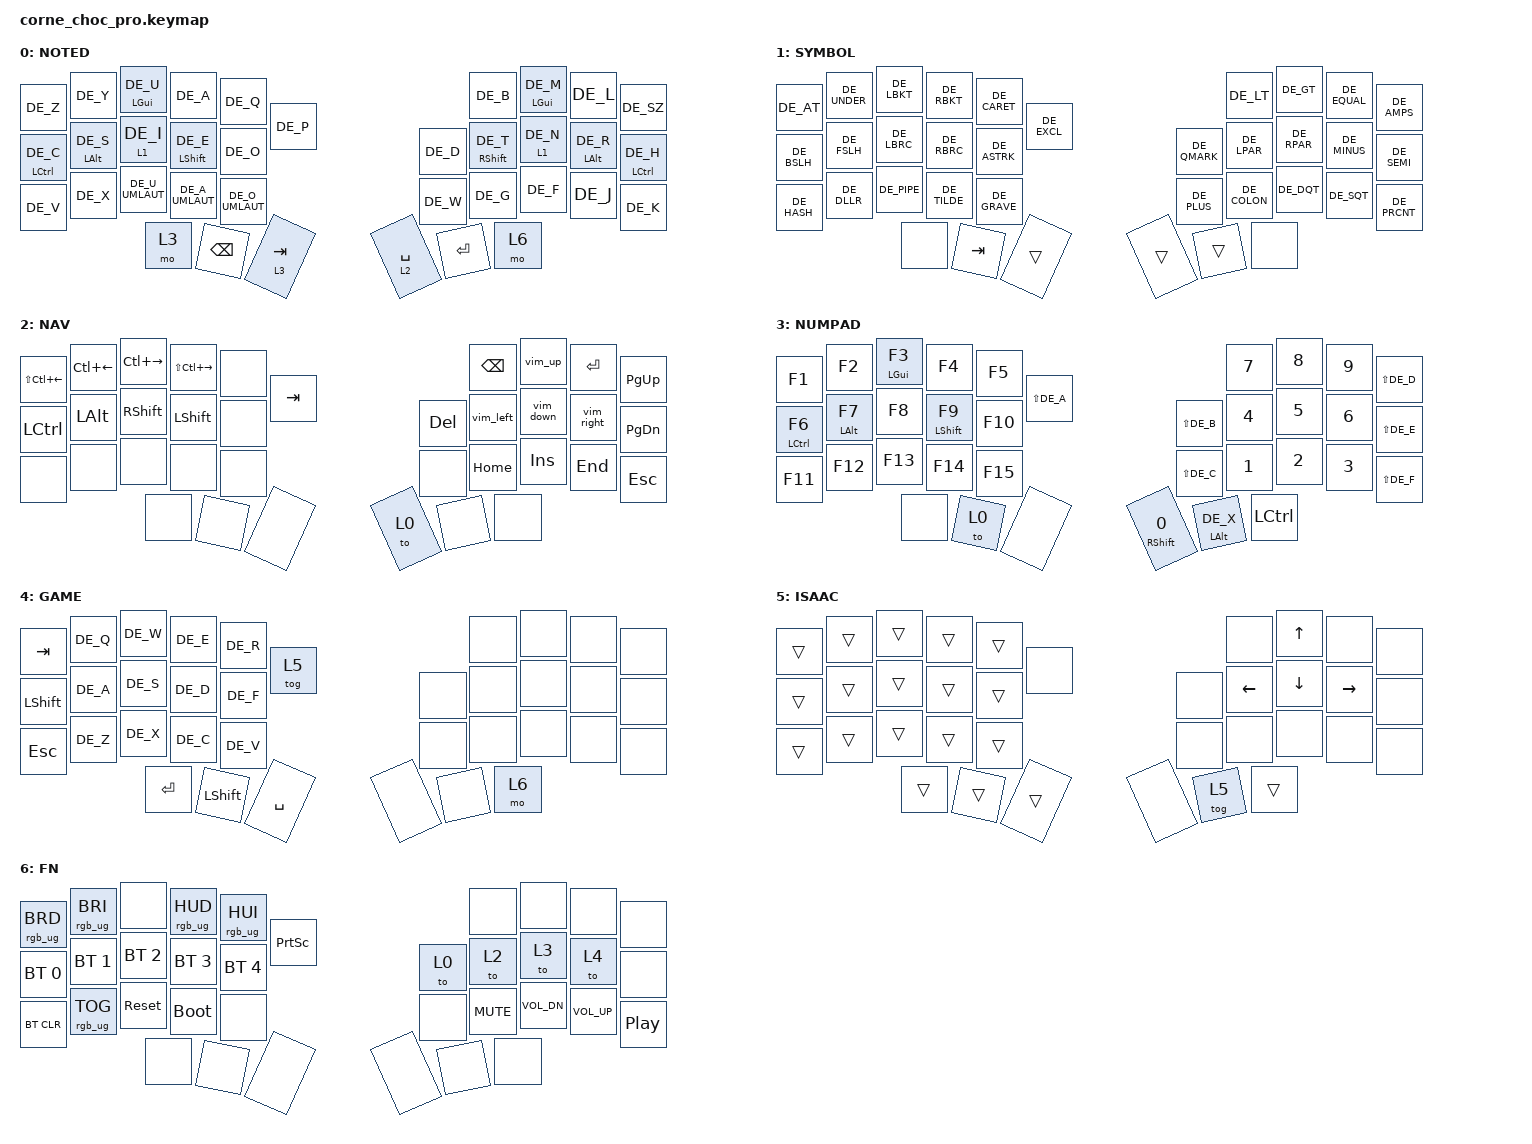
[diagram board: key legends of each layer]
/*
 * Copyright (c) 2020 The ZMK Contributors
 *
 * SPDX-License-Identifier: MIT
 */

#ifndef KEYMAP_DRAWER

#include "keys_de.h"

#endif

#include "zmk-helpers/helper.h"

// Source desired key-position labels

#include "zmk-helpers/key-labels/36.h"
#include <behaviors.dtsi>
#include <dt-bindings/zmk/bt.h>
#include <dt-bindings/zmk/keys.h>
#include <dt-bindings/zmk/rgb.h>

&lt {
    flavor = "balanced";
    tapping-term-ms = <175>;
};

&mt {
    flavor = "balanced";
    tapping-term-ms = <175>;
};

/ {
    chosen { zmk,physical-layout = &five_col_layout; };
};

/ {
    combos {
        compatible = "zmk,combos";

        Copy {
            bindings = <&copy>;
            key-positions = <20 21>;
            layers = <0 1 2 3>;
            timeout-ms = <17>;
            require-prior-idle-ms = <150>;
        };

        Paste {
            bindings = <&paste>;
            key-positions = <21 22>;
            layers = <0 1 2 3>;
            timeout-ms = <17>;
            require-prior-idle-ms = <150>;
        };

        Cut {
            bindings = <&kp LC(DE_X)>;
            key-positions = <22 23>;
            layers = <0 1 2 3>;
            timeout-ms = <17>;
            require-prior-idle-ms = <150>;
        };

        Backspace {
            bindings = <&kp BACKSPACE>;
            key-positions = <7 8>;
            timeout-ms = <17>;
            require-prior-idle-ms = <150>;
            layers = <1 3>;
        };

        Esc {
            bindings = <&kp ESC>;
            key-positions = <2 1>;
            timeout-ms = <17>;
            require-prior-idle-ms = <150>;
            layers = <1 3 0>;
        };

        Comma {
            bindings = <&kp COMMA>;
            key-positions = <13 12>;
            timeout-ms = <17>;
            require-prior-idle-ms = <150>;
            layers = <0 3>;
        };

        Dot {
            bindings = <&kp DOT>;
            key-positions = <16 17>;
            timeout-ms = <17>;
            require-prior-idle-ms = <150>;
            layers = <0 3>;
        };
    };

    behaviors {
        hml: hml {
            compatible = "zmk,behavior-hold-tap";
            label = "HomeRowModLeft";
            bindings = <&kp>, <&kp>;

            #binding-cells = <2>;
            tapping-term-ms = <195>;
            quick-tap-ms = <175>;
            flavor = "balanced";
            hold-trigger-key-positions = <30 31 32 33 34 35 5 6 7 8 9 15 16 17 18 19 25 26 27 28 29>;
            require-prior-idle-ms = <145>;
        };

        hmr: hmr {
            compatible = "zmk,behavior-hold-tap";
            label = "HomeRowModRight";
            bindings = <&kp>, <&kp>;

            #binding-cells = <2>;
            tapping-term-ms = <195>;
            quick-tap-ms = <175>;
            flavor = "balanced";
            hold-trigger-key-positions = <30 31 33 34 35 32 0 4 10 11 12 13 14 20 21 22 23 24 1 2 3>;
            require-prior-idle-ms = <145>;
        };

        lml: lml {
            compatible = "zmk,behavior-hold-tap";
            label = "LayerTapModLeft";
            bindings = <&mo>, <&kp>;

            #binding-cells = <2>;
            tapping-term-ms = <195>;
            quick-tap-ms = <175>;
            flavor = "balanced";
            hold-trigger-key-positions = <30 31 32 33 34 35 5 6 7 8 9 15 16 17 18 19 25 26 27 28 29>;
            require-prior-idle-ms = <145>;
        };

        lmr: lmr {
            compatible = "zmk,behavior-hold-tap";
            label = "LayenTabModRight";
            bindings = <&mo>, <&kp>;

            #binding-cells = <2>;
            tapping-term-ms = <195>;
            quick-tap-ms = <175>;
            flavor = "balanced";
            hold-trigger-key-positions = <30 31 33 34 35 32 0 1 2 3 4 10 11 12 13 14 20 21 22 23 24>;
            require-prior-idle-ms = <145>;
        };

        copy: copy {
            compatible = "zmk,behavior-mod-morph";
            label = "COPY";
            bindings = <&kp LC(INS)>, <&kp LC(DE_C)>;

            #binding-cells = <0>;
            mods = <(MOD_LSFT|MOD_RSFT)>;
        };

        paste: paste {
            compatible = "zmk,behavior-mod-morph";
            label = "PASTE";
            bindings = <&kp LS(INS)>, <&kp LC(DE_V)>;

            #binding-cells = <0>;
            mods = <(MOD_LSFT|MOD_RSFT)>;
        };

        vim_up: vim_up {
            compatible = "zmk,behavior-mod-morph";
            label = "VIM_UP";
            bindings = <&kp UP>, <&kp K>;

            #binding-cells = <0>;
            mods = <(MOD_RSFT)>;
        };

        vim_right: vim_right {
            compatible = "zmk,behavior-mod-morph";
            label = "VIM_RIGHT";
            bindings = <&kp RIGHT>, <&kp L>;

            #binding-cells = <0>;
            mods = <(MOD_RSFT)>;
        };

        vim_down: vim_down {
            compatible = "zmk,behavior-mod-morph";
            label = "VIM_DOWN";
            bindings = <&kp DOWN>, <&kp J>;

            #binding-cells = <0>;
            mods = <(MOD_RSFT)>;
        };

        vim_left: vim_left {
            compatible = "zmk,behavior-mod-morph";
            label = "VIM_LEFT";
            bindings = <&kp LEFT>, <&kp H>;

            #binding-cells = <0>;
            mods = <(MOD_RSFT)>;
        };
    };

    keymap {
        compatible = "zmk,keymap";

        write {
            display-name = "NOTED";

            // ------------------------------------------------------------------------------
            // |  Q  |  W  |  E  |  R  |  T  |  MUTE |  PP   |  Y  |  U   |  I  |  O  |  P  |
            // |  A  |  S  |  D  |  F  |  G  |  LALT |  RALT |  H  |  J   |  K  |  L  |  ;  |
            // |  Z  |  X  |  C  |  V  |  B  |               |  N  |  M   |  ,  |  .  |  /  |
            //                    | GUI | LWR | SPC |               | ENT | RSE  | ALT |

            bindings = <
  &kp DE_Z         &kp DE_Y        &hml LGUI DE_U   &kp DE_A         &kp DE_Q             &kp DE_P     &kp DE_B         &hmr LGUI DE_M  &kp DE_L        &kp DE_SZ
  &hml LCTRL DE_C  &hml LALT DE_S  &lml 1 DE_I      &hml LSHFT DE_E  &kp DE_O             &kp DE_D     &hmr RSHFT DE_T  &lmr 1 DE_N     &hmr LALT DE_R  &hmr LCTRL DE_H
  &kp DE_V         &kp DE_X        &kp DE_U_UMLAUT  &kp DE_A_UMLAUT  &kp DE_O_UMLAUT      &kp DE_W     &kp DE_G         &kp DE_F        &kp DE_J        &kp DE_K
                                   &mo 3            &kp BACKSPACE    &lt 3 TAB            &lt 2 SPACE  &kp ENTER        &mo 6
            >;
        };

        code {
            display-name = "SYMBOL";

            // --------------------------------------------------------------------------------
            // |  1  |  2  |  3  |  4  |  5    |  LCTRL | RCTRL |  6  |  7  |  8  |  9  |  0  |
            // | BT1 | BT2 | BT3 | BT4 | BT5   |  LALT  | RALT  | LFT | DWN |  UP | RGT |     |
            // | BTCR| RGB | RST | BOOT| Unlock|        |       |     |     |     |     |     |
            //                    | GUI |     | SPC   |        | ENT   |     | ALT |

            bindings = <
  &kp DE_AT    &kp DE_UNDER  &kp DE_LBKT  &kp DE_RBKT   &kp DE_CARET      &kp DE_EXCL   &kp DE_LT     &kp DE_GT    &kp DE_EQUAL  &kp DE_AMPS
  &kp DE_BSLH  &kp DE_FSLH   &kp DE_LBRC  &kp DE_RBRC   &kp DE_ASTRK      &kp DE_QMARK  &kp DE_LPAR   &kp DE_RPAR  &kp DE_MINUS  &kp DE_SEMI
  &kp DE_HASH  &kp DE_DLLR   &kp DE_PIPE  &kp DE_TILDE  &kp DE_GRAVE      &kp DE_PLUS   &kp DE_COLON  &kp DE_DQT   &kp DE_SQT    &kp DE_PRCNT
                             &none        &kp TAB       &trans            &trans        &trans        &none
            >;
        };

        navigation {
            display-name = "NAV";

            // -----------------------------------------------------------------------------
            // |  !  |  @  |  #  |  $  |  %  | LCTRL | RCTRL |  ^  |  &  |  *  |  (  |  )  |
            // |     |     |     |     |     |  LALT | RALT  |  -  |  =  |  [  |  ]  |  \  |
            // |     |     |     |     |     |               |  _  |  +  |  {  |  }  | "|" |
            //                    | GUI |     | SPC |               | ENT |     | ALT |

            bindings = <
  &kp LS(LC(LEFT))  &kp LC(LEFT)  &kp LC(RIGHT)  &kp LS(LC(RIGHT))  &none      &kp TAB  &kp BACKSPACE  &vim_up    &kp RET     &kp PAGE_UP
  &kp LCTRL         &kp LALT      &kp RSHFT      &kp LSHFT          &none      &kp DEL  &vim_left      &vim_down  &vim_right  &kp PAGE_DOWN
  &none             &none         &none          &none              &none      &none    &kp HOME       &kp INS    &kp END     &kp ESC
                                  &none          &none              &none      &to 0    &none          &none
            >;
        };

        numbers {
            display-name = "NUMPAD";
            bindings = <
  &kp F1         &kp F2        &hml LGUI F3  &kp F4         &kp F5       &kp LS(DE_A)   &kp N7         &kp N8     &kp N9  &kp LS(DE_D)
  &hml LCTRL F6  &hml LALT F7  &kp F8        &hml LSHFT F9  &kp F10      &kp LS(DE_B)   &kp N4         &kp N5     &kp N6  &kp LS(DE_E)
  &kp F11        &kp F12       &kp F13       &kp F14        &kp F15      &kp LS(DE_C)   &kp N1         &kp N2     &kp N3  &kp LS(DE_F)
                               &none         &to 0          &none        &hmr RSHFT N0  &mt LALT DE_X  &kp LCTRL
            >;
        };

        gamemod {
            display-name = "GAME";
            bindings = <
  &kp TAB    &kp DE_Q  &kp DE_W  &kp DE_E   &kp DE_R       &tog 5  &none  &none  &none  &none
  &kp LSHFT  &kp DE_A  &kp DE_S  &kp DE_D   &kp DE_F       &none   &none  &none  &none  &none
  &kp ESC    &kp DE_Z  &kp DE_X  &kp DE_C   &kp DE_V       &none   &none  &none  &none  &none
                       &kp RET   &kp LSHFT  &kp SPACE      &none   &none  &mo 6
            >;
        };

        game1 {
            bindings = <
  &trans  &trans  &trans  &trans  &trans      &none  &none     &kp UP    &none      &none
  &trans  &trans  &trans  &trans  &trans      &none  &kp LEFT  &kp DOWN  &kp RIGHT  &none
  &trans  &trans  &trans  &trans  &trans      &none  &none     &none     &none      &none
                  &trans  &trans  &trans      &none  &tog 5    &trans
            >;

            label = "ISAAC";
        };

        functions {
            display-name = "FN";
            bindings = <
  &rgb_ug RGB_BRD  &rgb_ug RGB_BRI  &none         &rgb_ug RGB_HUD  &rgb_ug RGB_HUI      &kp PRINTSCREEN  &none       &none         &none         &none
  &bt BT_SEL 0     &bt BT_SEL 1     &bt BT_SEL 2  &bt BT_SEL 3     &bt BT_SEL 4         &to 0            &to 2       &to 3         &to 4         &none
  &bt BT_CLR       &rgb_ug RGB_TOG  &sys_reset    &bootloader      &none                &none            &kp C_MUTE  &kp C_VOL_DN  &kp C_VOL_UP  &kp C_PLAY_PAUSE
                                    &none         &none            &none                &none            &none       &none
            >;
        };
    };
};
